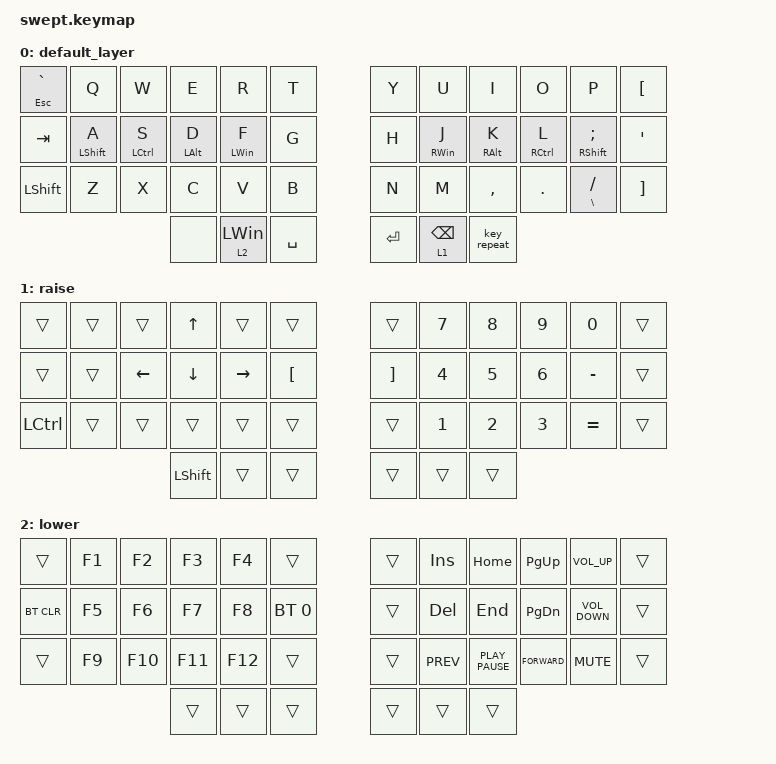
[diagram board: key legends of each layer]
/*
 * Copyright (c) 2020 The ZMK Contributors
 *
 * SPDX-License-Identifier: MIT
 */

#include <behaviors.dtsi>
#include <dt-bindings/zmk/bt.h>
#include <dt-bindings/zmk/keys.h>

&kscan0 {
    debounce-press-ms = <8>;
    debounce-release-ms = <15>;
};

/ {
    combos {
        compatible = "zmk,combos";

        Tab {
            bindings = <&kp TAB>;
            key-positions = <0 1>;
        };

        Caps_word {
            bindings = <&caps_word>;
            key-positions = <17 18>;
        };

        Delete {
            bindings = <&kp DELETE>;
            key-positions = <32 33>;
        };
    };

    behaviors {
        hml: homerow_mods_left {
            compatible = "zmk,behavior-hold-tap";
            label = "HOMEROW_MODS_LEFT";
            bindings = <&kp>, <&kp>;

            #binding-cells = <2>;
            tapping-term-ms = <150>;
            flavor = "hold-preferred";
            quick-tap-ms = <200>;
            hold-trigger-key-positions = <11 6 7 8 9 10 11 18 19 20 21 22 23 30 31 32 33 34 35 39 40 41>;
        };

        hmr: homerow_mods_right {
            compatible = "zmk,behavior-hold-tap";
            label = "HOMEROW_MODS_RIGHT";
            bindings = <&kp>, <&kp>;

            #binding-cells = <2>;
            tapping-term-ms = <150>;
            quick-tap-ms = <200>;
            hold-trigger-key-positions = <0 1 2 4 5 12 13 14 15 16 17 24 25 26 27 28 29 36 37 38 3>;
        };
    };

    keymap {
        compatible = "zmk,keymap";

        default_layer {
            // -----------------------------------------------------------------------------------------
            // |  ESC |  Q  |  W  |  E  |  R  |  T  |   |  Y  |  U   |  I  |  O  |  P  |  [  |
            // |  `   |  A  |  S  |  D  |  F  |  G  |   |  H  |  J   |  K  |  L  |  ;  |  '  |
            // | SHFT |  Z  |  X  |  C  |  V  |  B  |   |  N  |  M   |  ,  |  .  |  /  |  ]  |
            //                    |     | LWR | SPC |   | ENT | RSE  | ALT |

            bindings = <
&mt ESCAPE GRAVE  &kp Q              &kp W         &kp E            &kp R            &kp T        &kp Y    &kp U             &kp I             &kp O         &kp P                       &kp LEFT_BRACKET
&kp TAB           &hml LEFT_SHIFT A  &hml LCTRL S  &hml LEFT_ALT D  &hml LEFT_WIN F  &kp G        &kp H    &hmr RIGHT_WIN J  &hmr RIGHT_ALT K  &hmr RCTRL L  &hmr RIGHT_SHIFT SEMICOLON  &kp SQT
&kp LSHFT         &kp Z              &kp X         &kp C            &kp V            &kp B        &kp N    &kp M             &kp COMMA         &kp DOT       &mt BACKSLASH SLASH         &kp RIGHT_BRACKET
                                                   &none            &lt 2 LEFT_WIN   &kp SPACE    &kp RET  &lt 1 BACKSPACE   &key_repeat
            >;
        };

        raise {
            // -----------------------------------------------------------------------------------------
            // |      |     |     | ARU |     |     |   |     |  7  |  8  |  9  |  0  |      |
            // |      |     | ARL | ARD | ARR |  [  |   |  ]  |  4  |  5  |  6  |  -  |      |
            // | CTRL |     |     |     |     |     |   |     |  1  |  2  |  3  |  =  |      |
            //                    |SHFT |     |     |   |     |     |     |

            bindings = <
&trans     &trans  &trans    &kp UP          &trans     &trans              &trans             &kp N7  &kp N8  &kp N9  &kp N0     &trans
&trans     &trans  &kp LEFT  &kp DOWN        &kp RIGHT  &kp LEFT_BRACKET    &kp RIGHT_BRACKET  &kp N4  &kp N5  &kp N6  &kp MINUS  &trans
&kp LCTRL  &trans  &trans    &trans          &trans     &trans              &trans             &kp N1  &kp N2  &kp N3  &kp EQUAL  &trans
                             &kp LEFT_SHIFT  &trans     &trans              &trans             &trans  &trans
            >;
        };

        lower {
            // -----------------------------------------------------------------------------------------
            // |      |  F1 |  F2 |  F3 |  F4 |     |   |     | INS | HOM | PUP | VUP |      |
            // | BTCLR|  F5 |  F6 |  F7 |  F8 | BT0 |   |     | DEL | END | PDN | VDN |      |
            // |      |  F9 | F10 | F11 | F12 |     |   |     | PRV | PPS | FWD | MUT |      |
            //                    |     |     |     |   |     |     |     |

            bindings = <
&trans      &kp F1  &kp F2   &kp F3   &kp F4   &trans          &trans  &kp INSERT  &kp HOME          &kp PAGE_UP    &kp C_VOLUME_UP    &trans
&bt BT_CLR  &kp F5  &kp F6   &kp F7   &kp F8   &bt BT_SEL 0    &trans  &kp DELETE  &kp END           &kp PAGE_DOWN  &kp C_VOLUME_DOWN  &trans
&trans      &kp F9  &kp F10  &kp F11  &kp F12  &trans          &trans  &kp K_PREV  &kp K_PLAY_PAUSE  &kp K_FORWARD  &kp K_MUTE         &trans
                             &trans   &trans   &trans          &trans  &trans      &trans
            >;
        };
    };
};
